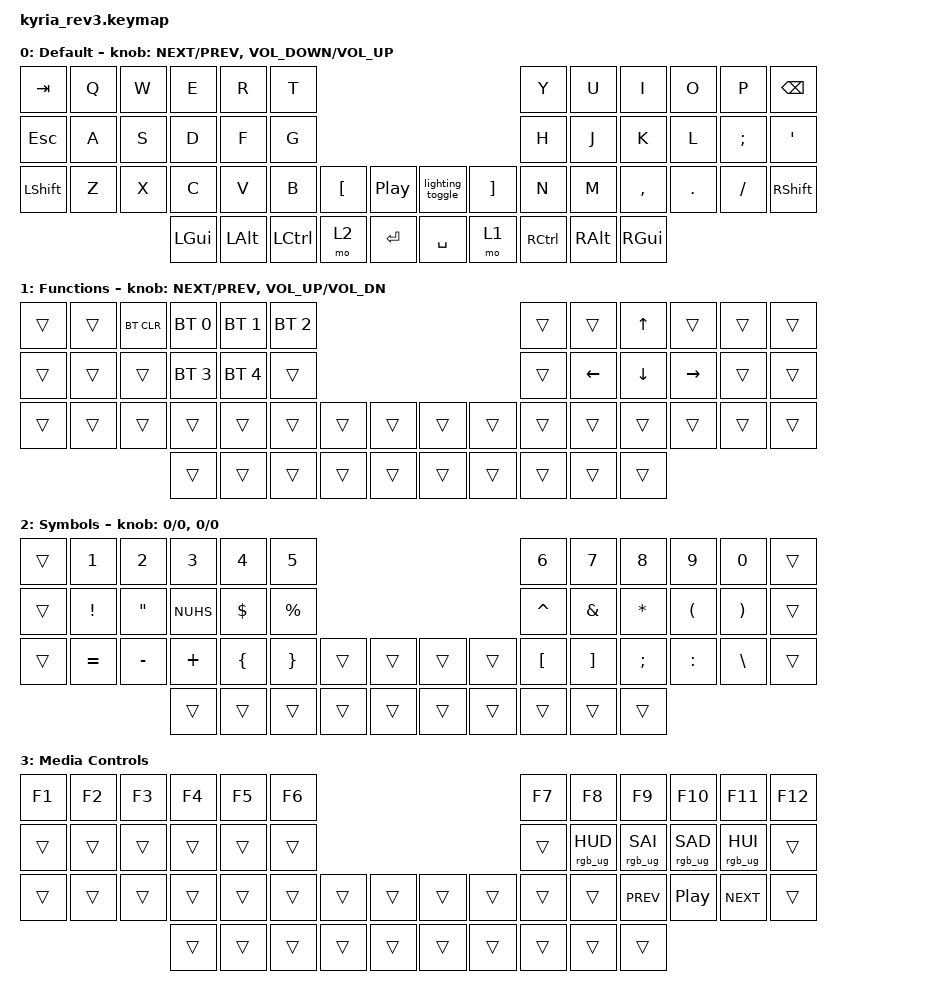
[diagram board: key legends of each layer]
/*
 * Copyright (c) 2023 The ZMK Contributors
 *
 * SPDX-License-Identifier: MIT
 */

#include <behaviors.dtsi>
#include <dt-bindings/zmk/backlight.h>
#include <dt-bindings/zmk/bt.h>
#include <dt-bindings/zmk/keys.h>
#include <dt-bindings/zmk/rgb.h>

&led_strip {
    //chain-length = <6>;

    chain-length = <31>; // Uncomment if using both per-key and underglow LEDs
    // chain-length = <25>; // Uncomment if using only per-key LEDs.
};

/ {
    macros {
        lighting_toggle: lighting_toggle {
            compatible = "zmk,behavior-macro";
            #binding-cells = <0>;
            bindings = <&bl BL_TOG &rgb_ug RGB_TOG>;
            label = "LIGHTING_TOGGLE";
        };
    };

    keymap {
        compatible = "zmk,keymap";

        default_layer {
            // ---------------------------------------------------------------------------------------------------------------------------------
            // |  RGB  |  Q  |  W  |  E   |  R   |  T   |                                          |  Y   |  U    |  I    |  O   |   P   |   \  |
            // |  ESC  |  A  |  S  |  D   |  F   |  G   |                                          |  H   |  J    |  K    |  L   |   ;   |   '  |
            // | SHIFT |  Z  |  X  |  C   |  V   |  B   | L SHIFT | L SHIFT |  | LAYER 1 | L SHIFT |  N   |  M    |  ,    |  .   |   /   | CTRL |
            //                     | GUI  | DEL  | RET  |  SPACE  |   ESC   |  |   RET   |  SPACE  | TAB  | BSPC  | R-ALT |

            bindings = <
&kp TAB    &kp Q  &kp W  &kp E     &kp R         &kp T                                                      &kp Y      &kp U          &kp I      &kp O    &kp P     &kp BACKSPACE
&kp ESC    &kp A  &kp S  &kp D     &kp F         &kp G                                                      &kp H      &kp J          &kp K      &kp L    &kp SEMI  &kp APOSTROPHE
&kp LSHFT  &kp Z  &kp X  &kp C     &kp V         &kp B      &kp LBKT  &kp C_PP  &lighting_toggle  &kp RBKT  &kp N      &kp M          &kp COMMA  &kp DOT  &kp FSLH  &kp RSHIFT
                         &kp LGUI  &kp LEFT_ALT  &kp LCTRL  &mo 2     &kp RET   &kp SPACE         &mo 1     &kp RCTRL  &kp RIGHT_ALT  &kp RGUI
            >;

            sensor-bindings =
                <&inc_dec_kp C_NEXT C_PREV>,
                <&inc_dec_kp C_VOLUME_DOWN C_VOLUME_UP>;

            label = "Default";
        };

        function_layer {
            // ---------------------------------------------------------------------------------------------------------------------------------
            // |       |      |BT_CLR|BTSEL0|BTSEL1|BTSEL2|                                         |      |      |      |      |      |      |
            // |       |      |      |BTSEL3|BTSEL4|      |                                         |      |      |      |      |      |      |
            // |       |      |      |      |      |      |      |      |      |      |      |      |      |      |      |      |      |      |
            //                       |      |      |      |      |      |      |      |      |      |      |      |      |

            bindings = <
&trans  &trans  &bt BT_CLR  &bt BT_SEL 0  &bt BT_SEL 1  &bt BT_SEL 2                                  &trans  &trans    &kp UP    &trans     &trans  &trans
&trans  &trans  &trans      &bt BT_SEL 3  &bt BT_SEL 4  &trans                                        &trans  &kp LEFT  &kp DOWN  &kp RIGHT  &trans  &trans
&trans  &trans  &trans      &trans        &trans        &trans        &trans  &trans  &trans  &trans  &trans  &trans    &trans    &trans     &trans  &trans
                            &trans        &trans        &trans        &trans  &trans  &trans  &trans  &trans  &trans    &trans
            >;

            sensor-bindings = <&inc_dec_kp K_NEXT K_PREV &inc_dec_kp C_VOL_UP C_VOL_DN>;
            label = "Functions";
        };

        symbol_layer {
            bindings = <
&trans  &kp N1           &kp N2             &kp N3    &kp N4          &kp N5                                           &kp NUMBER_6      &kp N7             &kp N8         &kp N9                &kp N0                 &trans
&trans  &kp EXCLAMATION  &kp DOUBLE_QUOTES  &kp NUHS  &kp DOLLAR      &kp PERCENT                                      &kp CARET         &kp AMPERSAND      &kp ASTERISK   &kp LEFT_PARENTHESIS  &kp RIGHT_PARENTHESIS  &trans
&trans  &kp EQUAL        &kp MINUS          &kp PLUS  &kp LEFT_BRACE  &kp RIGHT_BRACE  &trans  &trans  &trans  &trans  &kp LEFT_BRACKET  &kp RIGHT_BRACKET  &kp SEMICOLON  &kp COLON             &kp BACKSLASH          &trans
                                            &trans    &trans          &trans           &trans  &trans  &trans  &trans  &trans            &trans             &trans
            >;

            label = "Symbols";
            sensor-bindings = <&inc_dec_kp 0 0>, <&inc_dec_kp 0 0>;
        };

        media_layer {
            bindings = <
&kp F1  &kp F2  &kp F3  &kp F4  &kp F5  &kp F6                                  &kp F7  &kp F8           &kp F9           &kp F10           &kp F11          &kp F12
&trans  &trans  &trans  &trans  &trans  &trans                                  &trans  &rgb_ug RGB_HUD  &rgb_ug RGB_SAI  &rgb_ug RGB_SAD   &rgb_ug RGB_HUI  &trans
&trans  &trans  &trans  &trans  &trans  &trans  &trans  &trans  &trans  &trans  &trans  &trans           &kp C_PREV       &kp C_PLAY_PAUSE  &kp C_NEXT       &trans
                        &trans  &trans  &trans  &trans  &trans  &trans  &trans  &trans  &trans           &trans
            >;

            label = "Media Controls";
        };
    };

    conditional_layers {
        compatible = "zmk,conditional-layers";

        conditional_media {
            if-layers = <1 2>;
            then-layer = <3>;
        };
    };
};
